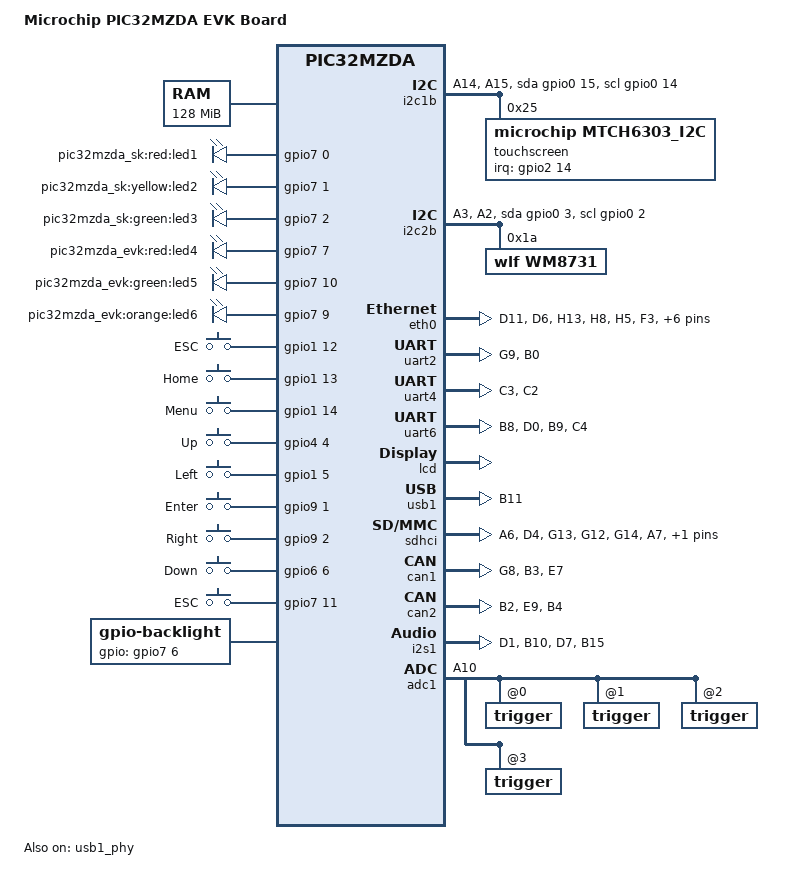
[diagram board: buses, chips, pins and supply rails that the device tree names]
/*
 * Copyright (C) 2015 Microchip Technology Inc.  All rights reserved.
 *
 * This program is free software; you can redistribute it and/or modify
 * it under the terms of the GNU General Public License version 2 as
 * published by the Free Software Foundation.
 *
 */

/dts-v1/;

#include <dt-bindings/gpio/gpio.h>
#include <dt-bindings/interrupt-controller/irq.h>

#include "pic32mzda.dtsi"

/ {
	compatible = "microchip,pic32mzda-evk", "microchip,pic32mzda";
	model = "Microchip PIC32MZDA EVK Board";

	memory {
		device_type = "memory";
		reg = <0x08000000 0x08000000>;
	};

	chosen {
		bootargs = "earlyprintk=ttyPIC1,115200n8r console=ttyPIC1,115200n8";
	};

	leds0 {
		compatible = "gpio-leds";
		pinctrl-names = "default";
		pinctrl-0 = <&user_leds_s0>;

		led@1 {
			label = "pic32mzda_sk:red:led1";
			gpios = <&gpio7 0 GPIO_ACTIVE_HIGH>;
			linux,default-trigger = "heartbeat";
		};

		led@2 {
			label = "pic32mzda_sk:yellow:led2";
			gpios = <&gpio7 1 GPIO_ACTIVE_HIGH>;
			linux,default-trigger = "mmc0";
		};

		led@3 {
			label = "pic32mzda_sk:green:led3";
			gpios = <&gpio7 2 GPIO_ACTIVE_HIGH>;
			default-state = "on";
		};
	};

	leds1 {
		compatible = "gpio-leds";
		pinctrl-names = "default";
		pinctrl-0 = <&user_leds_s1>;

		led@4 {
			label = "pic32mzda_evk:red:led4";
			gpios = <&gpio7 7 GPIO_ACTIVE_HIGH>;
			default-state = "on";
		};

		led@5 {
			label = "pic32mzda_evk:green:led5";
			gpios = <&gpio7 10 GPIO_ACTIVE_HIGH>;
			default-state = "on";
		};

		led@6 {
			label = "pic32mzda_evk:orange:led6";
			gpios = <&gpio7 9 GPIO_ACTIVE_HIGH>;
			default-state = "on";
		};
	};

	keys0 {
		compatible = "gpio-keys";
		pinctrl-0 = <&user_buttons_s0>;
		pinctrl-names = "default";
		#address-cells = <1>;
		#size-cells = <0>;

		button@sw1 {
			label = "ESC";
			linux,code = <1>;
			gpios = <&gpio1 12 0>;
		};

		button@sw2 {
			label = "Home";
			linux,code = <102>;
			gpios = <&gpio1 13 0>;
		};

		button@sw3 {
			label = "Menu";
			linux,code = <139>;
			gpios = <&gpio1 14 0>;
		};
	};

	keys1 {
		compatible = "gpio-keys";
		pinctrl-0 = <&user_buttons_s1>;
		pinctrl-names = "default";
		#address-cells = <1>;
		#size-cells = <0>;

		button@sw4 {
			label = "Up";
			linux,code = <103>;
			gpios = <&gpio4 4 0>;
		};

		button@sw5 {
			label = "Left";
			linux,code = <105>;
			gpios = <&gpio1 5 0>;
		};

		button@sw6 {
			label = "Enter";
			linux,code = <28>;
			gpios = <&gpio9 1 0>;
		};

		button@sw7 {
			label = "Right";
			linux,code = <106>;
			gpios = <&gpio9 2 0>;
		};

		button@sw8 {
			label = "Down";
			linux,code = <108>;
			gpios = <&gpio6 6 0>;
		};

		button@sw9 {
			label = "ESC";
			linux,code = <1>;
			gpios = <&gpio7 11 0>;
		};
	};

	sound {
		compatible = "microchip,snd-pic32mzda-proto";
		microchip,cpu-dai = <&i2s1 &i2s1>;
		microchip,audio-codec = <&wm8731>;
	};

	pwm1 {
		compatible = "microchip,pic32mzda-pwm";
		microchip,timer = <&PBTIMER23>;
		microchip,ocmp = <&OCMP1>;
		pinctrl-names = "default";
		pinctrl-0 = <&pinctrl_oc1>;
		status = "disabled";
	};

	pwm4 {
		compatible = "microchip,pic32mzda-pwm";
		microchip,timer = <&PBTIMER23>;
		microchip,ocmp = <&OCMP4>;
		pinctrl-names = "default";
		pinctrl-0 = <&pinctrl_oc4>;
	};

	backlight {
		compatible = "gpio-backlight";
		pinctrl-names = "default";
		pinctrl-0 = <&pinctrl_backlight>;
		gpios = <&gpio7 6 GPIO_ACTIVE_HIGH>;
		default-on;
	};

	i2c1b {
		#address-cells = <1>;
		#size-cells = <0>;
		compatible = "i2c-gpio";
		gpios = <&gpio0 15 GPIO_ACTIVE_HIGH>,
			<&gpio0 14 GPIO_ACTIVE_HIGH>;
		i2c-gpio,delay-us = <1>;
		pinctrl-names = "default";
		pinctrl-0 = <&pinctrl_i2c1>;

		touchscreen: mtch6303_i2c@25 {
			compatible = "microchip,mtch6303_i2c";
			reg = <0x25>;
			pinctrl-names = "default";
			pinctrl-0 = <&pinctrl_i2c1_mtch6303>;
			interrupt-parent = <&gpio2>;
			interrupts = <14 IRQ_TYPE_EDGE_FALLING>;
		};
	};

	i2c2b {
		#address-cells = <1>;
		#size-cells = <0>;
		compatible = "i2c-gpio";
		gpios = <&gpio0 3 GPIO_ACTIVE_HIGH>,
			<&gpio0 2 GPIO_ACTIVE_HIGH>;
		i2c-gpio,delay-us = <4>;
		pinctrl-names = "default";
		pinctrl-0 = <&pinctrl_i2c2>;

		wm8731: wm8731@1a {
			compatible = "wlf,wm8731";
			reg = <0x1a>;
		};
	};
};

&eth0 {
	mac-address = [00 00 00 00 00 00];
	pinctrl-names = "default";
	pinctrl-0 = <&pinctrl_eth0>;
	reset-gpio = <&gpio8 15 0>;
	status = "okay";
};

&uart2 {
	pinctrl-names = "default";
	pinctrl-0 = <&pinctrl_uart2>;
	status = "okay";
};

&uart4 {
	pinctrl-names = "default";
	pinctrl-0 = <&pinctrl_uart4>;
	status = "okay";
};

&uart6 {
	pinctrl-names = "default";
	pinctrl-0 = <&pinctrl_uart6
			&pinctrl_uart6_cts
			&pinctrl_uart6_rts>;
	status = "okay";
};

&lcd {
	bits-per-pixel = <32>;
	pic32,transp-length = <0>;
	pic32,red-offset = <16>;
	pic32,grayscale = <0>;
	status = "okay";
	assigned-clocks = <&REFCLKO5>;
	assigned-clock-rates = <40000000>;

	display-timings {
		native-mode = <&timing1>;

		timing0: 480x272 {
			clock-frequency = <40000000>;
			hactive = <480>;
			vactive = <272>;
			hfront-porch = <1>;
			hback-porch = <42>;
			hsync-len = <2>;
			vback-porch = <40>;
			vfront-porch = <21>;
			vsync-len = <23>;
		};

		timing1: 800x480 {
			clock-frequency = <20000000>;
			hactive = <800>;
			vactive = <480>;
			hfront-porch = <48>;
			hback-porch = <88>;
			vfront-porch = <3>;
			vback-porch = <32>;
			hsync-len = <40>;
			vsync-len = <13>;
			hsync-active = <0>;
			vsync-active = <0>;
		};
	};
};

&i2c3 {
	#address-cells = <1>;
	#size-cells = <0>;
	pinctrl-names = "default";
	pinctrl-0 = <&pinctrl_i2c3>;
	status = "disabled";
};

&usb1 {
	pinctrl-names = "default";
	pinctrl-0 = <&pinctrl_usb1>;
	status = "okay";

	usb_overcurrent@0 {
		interrupt-parent = <&gpio1>;
		interrupts = <11 IRQ_TYPE_EDGE_FALLING>;
	};
};

&usb1_phy {
	status = "okay";
};

&sdhci {
	pinctrl-names = "default";
	pinctrl-0 = <&pinctrl_sdhc1>;
	status = "okay";
	assigned-clocks = <&REFCLKO4>;
	assigned-clock-rates = <25000000>;
};

&can1 {
	pinctrl-names = "default";
	pinctrl-0 = <&pinctrl_can1>;
	transceiver-gpio = <&gpio4 7 GPIO_ACTIVE_HIGH>;
	status = "okay";
};

&can2 {
	pinctrl-names = "default";
	pinctrl-0 = <&pinctrl_can2>;
	transceiver-gpio = <&gpio1 4 GPIO_ACTIVE_HIGH>;
	status = "okay";
};

&i2s1 {
	pinctrl-names = "default";
	pinctrl-0 = <&pinctrl_i2s1>;
	status = "okay";
};

&spi4 {
	pinctrl-names = "default";
	pinctrl-0 = <&pinctrl_spi4>;
	status = "disabled";
};

&spi6 {
	pinctrl-names = "default";
	pinctrl-0 = <&pinctrl_spi6>;
	cs-gpios = <&gpio2 1 GPIO_ACTIVE_LOW>;
	status = "disabled";
};

&adc1 {
	pinctrl-names = "default";
	pinctrl-0 = <&pinctrl_adc1>;
	enabled-channel-mask = <0x10000000>;
	resolution = <12>;
	vref = <3300>;
	status = "okay";

	trigger@0 {
		trigger-name = "int0-external-interrupt";
		trigger-value = <4>;
	};

	trigger@1 {
		trigger-name = "tmr1-match";
		trigger-value = <5>;
		microchip,timer = <&PBTIMER1>;
	};

	trigger@2 {
		trigger-name = "tmr3-match";
		trigger-value = <6>;
		microchip,timer = <&PBTIMER23>;
	};

	trigger@3 {
		trigger-name = "tmr5-match";
		trigger-value = <7>;
		microchip,timer = <&PBTIMER5>;
	};
};

&pic32_pinctrl {

	pinctrl_usb1: usb1_oc-0 {
		pins = "B11";
		microchip,digital;
		input-enable;
	};

	pinctrl_backlight: backlight-0 {
		pins = "H6";
		microchip,digital;
		output-low;
	};

	pinctrl_oc1: ocmp1_pins {
		pins = "B2";
		function = "OC1";
		microchip,digital;
		output-low;
	};

	pinctrl_oc4: ocmp4_pins {
		pins = "E5";
		function = "OC4";
		microchip,digital;
		output-low;
	};

	pinctrl_sdhc1: sdhc1_pins0 {
		pins = "A6", "D4", "G13", "G12", "G14",
		"A7", "A0";
		microchip,digital;
	};

	pinctrl_i2c1: i2c1_0 {
		pins = "A14", "A15";
		microchip,digital;
	};

	pinctrl_i2c1_mtch6303: pinctrl_i2c1_mtch6303_0 {
		pins = "C14";
		microchip,digital;
		input-enable;
	};

	pinctrl_i2c2: i2c2_0 {
		pins = "A3", "A2";
		microchip,digital;
	};

	pinctrl_i2c3: i2c3_0 {
		pins = "F8", "F2";
		microchip,digital;
	};

	pinctrl_i2s1: i2s1_0 {

		pinctrl_i2s-clk {
			pins = "D1";
			microchip,digital;
		};

		pinctrl_i2s-rx {
			pins = "B10";
			function = "SDI1";
			microchip,digital;
		};

		pinctrl_i2s-tx {
			pins = "D7";
			function = "SDO1";
			microchip,digital;
		};

		pinctrl_i2s-syncout {
			pins = "B15";
			function = "SS1OUT";
			microchip,digital;
		};

		pinctrl_i2s-syncin {
			pins = "B15";
			function = "SS1IN";
			microchip,digital;
		};
	};

	pinctrl_spi4: spi4_0 {

		pinctrl_spi-clk {
			pins = "D10";
			microchip,digital;
		};

		pinctrl_spi-rx {
			pins = "G7";
			function = "SDI4";
			microchip,digital;
		};

		pinctrl_spi-tx {
			pins = "B2";
			function = "SDO4";
			microchip,digital;
		};

		pinctrl_spi-syncout {
			pins = "E9";
			function = "SS4OUT";
			microchip,digital;
		};

		pinctrl_spi-syncin {
			pins = "E9";
			function = "SS4IN";
			microchip,digital;
		};
	};

	pinctrl_spi6: spi6_0 {

		pinctrl_spi-clk-cs {
			pins = "D15", "C1";
			microchip,digital;
		};

		pinctrl_spi-rx {
			pins = "E8";
			function = "SDI6";
			microchip,digital;
		};

		pinctrl_spi-tx {
			pins = "D5";
			function = "SDO6";
			microchip,digital;
		};
	};

	pinctrl_eth0: eth0_0 {
		pins = "D11", "D6", "H13", "H8", "H5", "F3",
		"J11", "J9", "J8", "J1", "J15";
		microchip,digital;
	};

	user_leds_s0: user_leds_s0 {
		pins = "H0", "H1", "H2";
		output-low;
		microchip,digital;
	};

	user_leds_s1: user_leds_s1 {
		pins = "H7", "H10", "H9";
		output-low;
		microchip,digital;
	};

	user_buttons_s0: user_buttons_s0 {
		pins = "B12", "B13", "B14";
		microchip,digital;
		input-enable;
		bias-pull-up;
	};

	user_buttons_s1: user_buttons_s1 {
		pins = "E4", "B5", "K1", "G6", "H11";
		microchip,digital;
		input-enable;
	};

	pinctrl_uart2: pinctrl_uart2 {
		uart2-tx {
			pins = "G9";
			function = "U2TX";
			microchip,digital;
			output-low;
		};
		uart2-rx {
			pins = "B0";
			function = "U2RX";
			microchip,digital;
			input-enable;
		};
	};

	pinctrl_uart4: uart4-0 {
		uart4-tx {
			pins = "C3";
			function = "U4TX";
			microchip,digital;
			output-low;
		};
		uart4-rx {
			pins = "C2";
			function = "U4RX";
			microchip,digital;
			input-enable;
		};
	};

	pinctrl_uart6: uart6-0 {
		uart6-tx {
			pins = "B8";
			function = "U6TX";
			microchip,digital;
			output-low;
		};
		uart6-rx {
			pins = "D0";
			function = "U6RX";
			microchip,digital;
			input-enable;
		};
	};

	pinctrl_uart6_cts: pinctrl_uart6_cts {
		pins = "B9";
		function = "U6CTS";
		microchip,digital;
		input-enable;
	};

	pinctrl_uart6_rts: pinctrl_uart6_rts {
		pins = "C4";
		function = "U6RTS";
		microchip,digital;
		output-low;
	};

	pinctrl_adc1: adc1_0 {
		pins = "A10";
		microchip,analog-level;
		input-enable;
	};

	pinctrl_can1: can1_0 {
		can1-tx {
			pins = "G8";
			function = "C1TX";
			microchip,digital;
			output-low;
		};
		can1-rx {
			pins = "B3";
			function = "C1RX";
			microchip,digital;
			input-enable;
		};
		can1-stby {
			pins = "E7";
			microchip,digital;
			output-low;
		};
	};

	pinctrl_can2: can2_0 {
		can2-tx {
			pins = "B2";
			function = "C2TX";
			microchip,digital;
			output-low;
		};
		can2-rx {
			pins = "E9";
			function = "C2RX";
			microchip,digital;
			input-enable;
		};
		can2-stby {
			pins = "B4";
			microchip,digital;
			output-low;
		};
	};
};
